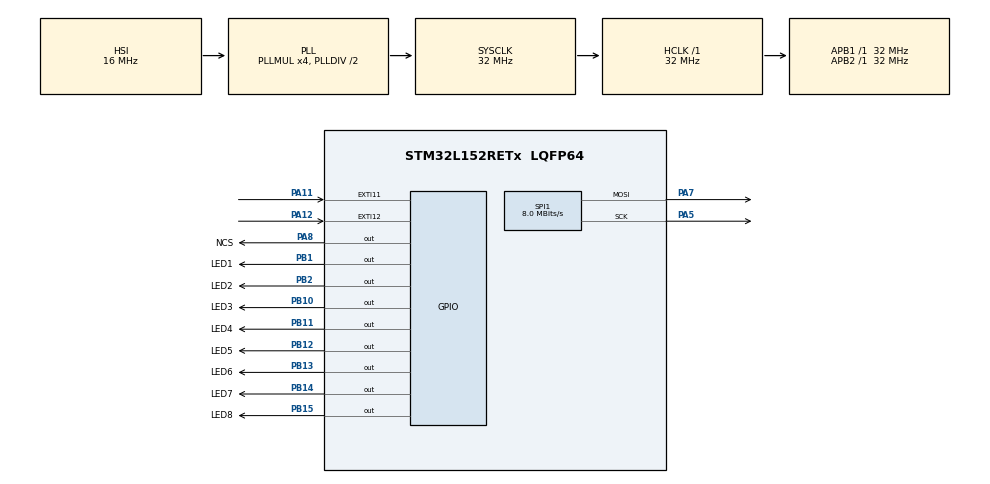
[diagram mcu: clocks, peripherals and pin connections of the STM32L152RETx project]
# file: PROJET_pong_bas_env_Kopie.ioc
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Mcu.Family=STM32L1
Mcu.Name=STM32L152RETx
Mcu.Package=LQFP64
NVIC.EXTI15_10_IRQn=true\:0\:0\:true\:false\:true\:true\:true\:true
NVIC.PriorityGroup=NVIC_PRIORITYGROUP_4
PA11.Signal=GPXTI11
PA12.Signal=GPXTI12
PA13.Mode=Trace_Asynchronous_SW
PA13.Signal=SYS_JTMS-SWDIO
PA14.Mode=Trace_Asynchronous_SW
PA14.Signal=SYS_JTCK-SWCLK
PA5.Mode=TX_Only_Simplex_Unidirect_Master
PA5.Signal=SPI1_SCK
PA7.Mode=TX_Only_Simplex_Unidirect_Master
PA7.Signal=SPI1_MOSI
PA8.GPIO_Label=NCS
PA8.GPIO_PuPd=GPIO_NOPULL
PA8.Signal=GPIO_Output
PB1.GPIO_Label=LED1
PB1.Signal=GPIO_Output
PB10.GPIO_Label=LED3
PB10.Signal=GPIO_Output
PB11.GPIO_Label=LED4
PB11.Signal=GPIO_Output
PB12.GPIO_Label=LED5
PB12.Signal=GPIO_Output
PB13.GPIO_Label=LED6
PB13.Signal=GPIO_Output
PB14.GPIO_Label=LED7
PB14.Signal=GPIO_Output
PB15.GPIO_Label=LED8
PB15.Signal=GPIO_Output
PB2.GPIO_Label=LED2
PB2.Signal=GPIO_Output
PB3.Mode=Trace_Asynchronous_SW
PB3.Signal=SYS_JTDO-TRACESWO
ProjectManager.HeapSize=0x200
ProjectManager.StackSize=0x400
ProjectManager.TargetToolchain=STM32CubeIDE
RCC.48MHZClocksFreq_Value=32000000
RCC.AHBFreq_Value=32000000
RCC.APB1Freq_Value=32000000
RCC.APB1TimFreq_Value=32000000
RCC.APB2Freq_Value=32000000
RCC.APB2TimFreq_Value=32000000
RCC.HCLKFreq_Value=32000000
RCC.HSE_VALUE=24000000
RCC.HSI_VALUE=16000000
RCC.LSE_VALUE=32768
RCC.MSI_VALUE=2097000
RCC.PLLMUL=RCC_PLL_MUL4
RCC.SYSCLKFreq_VALUE=32000000
RCC.SYSCLKSource=RCC_SYSCLKSOURCE_PLLCLK
RCC.VCOOutputFreq_Value=64000000
SPI1.BaudRatePrescaler=SPI_BAUDRATEPRESCALER_4
SPI1.CLKPolarity=SPI_POLARITY_HIGH
SPI1.CalculateBaudRate=8.0 MBits/s
SPI1.Direction=SPI_DIRECTION_2LINES
SPI1.Mode=SPI_MODE_MASTER
SPI1.VirtualType=VM_MASTER
board=custom

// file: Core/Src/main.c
/* USER CODE BEGIN Header */
/**
  ******************************************************************************
  * @file           : main.c
  * @brief          : Main program body
  ******************************************************************************
  * @attention
  *
  * Copyright (c) 2022 STMicroelectronics.
  * All rights reserved.
  *
  * This software is licensed under terms that can be found in the LICENSE file
  * in the root directory of this software component.
  * If no LICENSE file comes with this software, it is provided AS-IS.
  *
  ******************************************************************************
  */
/* USER CODE END Header */
#include "main.h"

/* USER CODE BEGIN Includes */
#include "stdio.h"

/* USER CODE END Includes */

SPI_HandleTypeDef hspi1;

void SystemClock_Config(void);
static void MX_GPIO_Init(void);
static void MX_SPI1_Init(void);

/* USER CODE BEGIN 0 */
Pong_Handle_TypeDef test;
//ici le pong_Handle_TypDef est créé
FSM_Handle_TypeDef testv2;

int _write(int file, char *ptr, int len)
{
	int DataIdx;
	for (DataIdx = 0; DataIdx < len; DataIdx++)
	{
	//__io_putchar(*ptr++);
	ITM_SendChar(*ptr++);
	}
	return len;
}
TypeDef_LED_Array led_array;
TypeDef_LED arr_declar[]=
{
	{LED1_GPIO_Port,LED1_Pin},
	{LED2_GPIO_Port,LED2_Pin},
	{LED3_GPIO_Port,LED3_Pin},
	{LED4_GPIO_Port,LED4_Pin},
	{LED5_GPIO_Port,LED5_Pin},
	{LED6_GPIO_Port,LED6_Pin},
	{LED7_GPIO_Port,LED7_Pin},
	{LED8_GPIO_Port,LED8_Pin}
};
//on créé ici un tableau de structures afin de simplifier leur appel via l'index

/* USER CODE END 0 */

int main(void)
{
  /* USER CODE BEGIN 1 */
  	led_array.array=arr_declar;
	led_array.array_sz=7;
  /* USER CODE END 1 */

  /* MCU Configuration--------------------------------------------------------*/

  /* Reset of all peripherals, Initializes the Flash interface and the Systick. */
  HAL_Init();

  /* Configure the system clock */
  SystemClock_Config();

  /* Initialize all configured peripherals */
  MX_GPIO_Init();
  MX_SPI1_Init();
  /* USER CODE BEGIN 2 */
  test.max7219_handle.hspi=&hspi1;
  test.max7219_handle.spi_ncs_port=NCS_GPIO_Port;
  test.max7219_handle.digits_count=4;
  test.max7219_handle.spi_ncs_pin=NCS_Pin;
  //on initialise ici nos variables pong_handle et Handle_typeDef pour qu'elles soient appelé dans les inits.
  max7219_init(&test.max7219_handle);
  test.led_array=led_array;
  pong_init(&test,&testv2);

  /* USER CODE END 2 */

  /* Infinite loop */
  while (1)
  {
	  pong_run();
  }
}

void SystemClock_Config(void)
{
  RCC_OscInitTypeDef RCC_OscInitStruct = {0};
  RCC_ClkInitTypeDef RCC_ClkInitStruct = {0};

  /** Configure the main internal regulator output voltage
  */
  __HAL_PWR_VOLTAGESCALING_CONFIG(PWR_REGULATOR_VOLTAGE_SCALE1);

  /** Initializes the RCC Oscillators according to the specified parameters
  * in the RCC_OscInitTypeDef structure.
  */
  RCC_OscInitStruct.OscillatorType = RCC_OSCILLATORTYPE_HSI;
  RCC_OscInitStruct.HSIState = RCC_HSI_ON;
  RCC_OscInitStruct.HSICalibrationValue = RCC_HSICALIBRATION_DEFAULT;
  RCC_OscInitStruct.PLL.PLLState = RCC_PLL_ON;
  RCC_OscInitStruct.PLL.PLLSource = RCC_PLLSOURCE_HSI;
  RCC_OscInitStruct.PLL.PLLMUL = RCC_PLL_MUL4;
  RCC_OscInitStruct.PLL.PLLDIV = RCC_PLL_DIV2;
  if (HAL_RCC_OscConfig(&RCC_OscInitStruct) != HAL_OK)
  {
    Error_Handler();
  }

  /** Initializes the CPU, AHB and APB buses clocks
  */
  RCC_ClkInitStruct.ClockType = RCC_CLOCKTYPE_HCLK|RCC_CLOCKTYPE_SYSCLK
                              |RCC_CLOCKTYPE_PCLK1|RCC_CLOCKTYPE_PCLK2;
  RCC_ClkInitStruct.SYSCLKSource = RCC_SYSCLKSOURCE_PLLCLK;
  RCC_ClkInitStruct.AHBCLKDivider = RCC_SYSCLK_DIV1;
  RCC_ClkInitStruct.APB1CLKDivider = RCC_HCLK_DIV1;
  RCC_ClkInitStruct.APB2CLKDivider = RCC_HCLK_DIV1;

  if (HAL_RCC_ClockConfig(&RCC_ClkInitStruct, FLASH_LATENCY_1) != HAL_OK)
  {
    Error_Handler();
  }
}

static void MX_SPI1_Init(void)
{

  /* SPI1 parameter configuration*/
  hspi1.Instance = SPI1;
  hspi1.Init.Mode = SPI_MODE_MASTER;
  hspi1.Init.Direction = SPI_DIRECTION_2LINES;
  hspi1.Init.DataSize = SPI_DATASIZE_8BIT;
  hspi1.Init.CLKPolarity = SPI_POLARITY_HIGH;
  hspi1.Init.CLKPhase = SPI_PHASE_1EDGE;
  hspi1.Init.NSS = SPI_NSS_SOFT;
  hspi1.Init.BaudRatePrescaler = SPI_BAUDRATEPRESCALER_4;
  hspi1.Init.FirstBit = SPI_FIRSTBIT_MSB;
  hspi1.Init.TIMode = SPI_TIMODE_DISABLE;
  hspi1.Init.CRCCalculation = SPI_CRCCALCULATION_DISABLE;
  hspi1.Init.CRCPolynomial = 10;
  if (HAL_SPI_Init(&hspi1) != HAL_OK)
  {
    Error_Handler();
  }

}

static void MX_GPIO_Init(void)
{
  GPIO_InitTypeDef GPIO_InitStruct = {0};

  /* GPIO Ports Clock Enable */
  __HAL_RCC_GPIOA_CLK_ENABLE();
  __HAL_RCC_GPIOB_CLK_ENABLE();

  /*Configure GPIO pin Output Level */
  HAL_GPIO_WritePin(GPIOB, LED1_Pin|LED2_Pin|LED3_Pin|LED4_Pin
                          |LED5_Pin|LED6_Pin|LED7_Pin|LED8_Pin, GPIO_PIN_RESET);

  /*Configure GPIO pin Output Level */
  HAL_GPIO_WritePin(NCS_GPIO_Port, NCS_Pin, GPIO_PIN_RESET);

  /*Configure GPIO pins : LED1_Pin LED2_Pin LED3_Pin LED4_Pin
                           LED5_Pin LED6_Pin LED7_Pin LED8_Pin */
  GPIO_InitStruct.Pin = LED1_Pin|LED2_Pin|LED3_Pin|LED4_Pin
                          |LED5_Pin|LED6_Pin|LED7_Pin|LED8_Pin;
  GPIO_InitStruct.Mode = GPIO_MODE_OUTPUT_PP;
  GPIO_InitStruct.Pull = GPIO_NOPULL;
  GPIO_InitStruct.Speed = GPIO_SPEED_FREQ_LOW;
  HAL_GPIO_Init(GPIOB, &GPIO_InitStruct);

  /*Configure GPIO pin : NCS_Pin */
  GPIO_InitStruct.Pin = NCS_Pin;
  GPIO_InitStruct.Mode = GPIO_MODE_OUTPUT_PP;
  GPIO_InitStruct.Pull = GPIO_NOPULL;
  GPIO_InitStruct.Speed = GPIO_SPEED_FREQ_LOW;
  HAL_GPIO_Init(NCS_GPIO_Port, &GPIO_InitStruct);

  /*Configure GPIO pins : PA11 PA12 */
  GPIO_InitStruct.Pin = GPIO_PIN_11|GPIO_PIN_12;
  GPIO_InitStruct.Mode = GPIO_MODE_IT_RISING;
  GPIO_InitStruct.Pull = GPIO_NOPULL;
  HAL_GPIO_Init(GPIOA, &GPIO_InitStruct);

  /* EXTI interrupt init*/
  HAL_NVIC_SetPriority(EXTI15_10_IRQn, 0, 0);
  HAL_NVIC_EnableIRQ(EXTI15_10_IRQn);

}

/* USER CODE BEGIN 4 */
void HAL_GPIO_EXTI_Callback(uint16_t GPIO_Pin)
{
	if(GPIO_Pin==GPIO_PIN_11)
	{
	testv2.inputs.nb_press_btn1=1;
	}
	if(GPIO_Pin==GPIO_PIN_12)
		{
		testv2.inputs.nb_press_btn2=1;
		}
	//suivant le bouton utilisé, on donne à sa variable associée la valeur 1
}
/* USER CODE END 4 */

void Error_Handler(void)
{
  __disable_irq();
  while (1)
  {
  }
}
